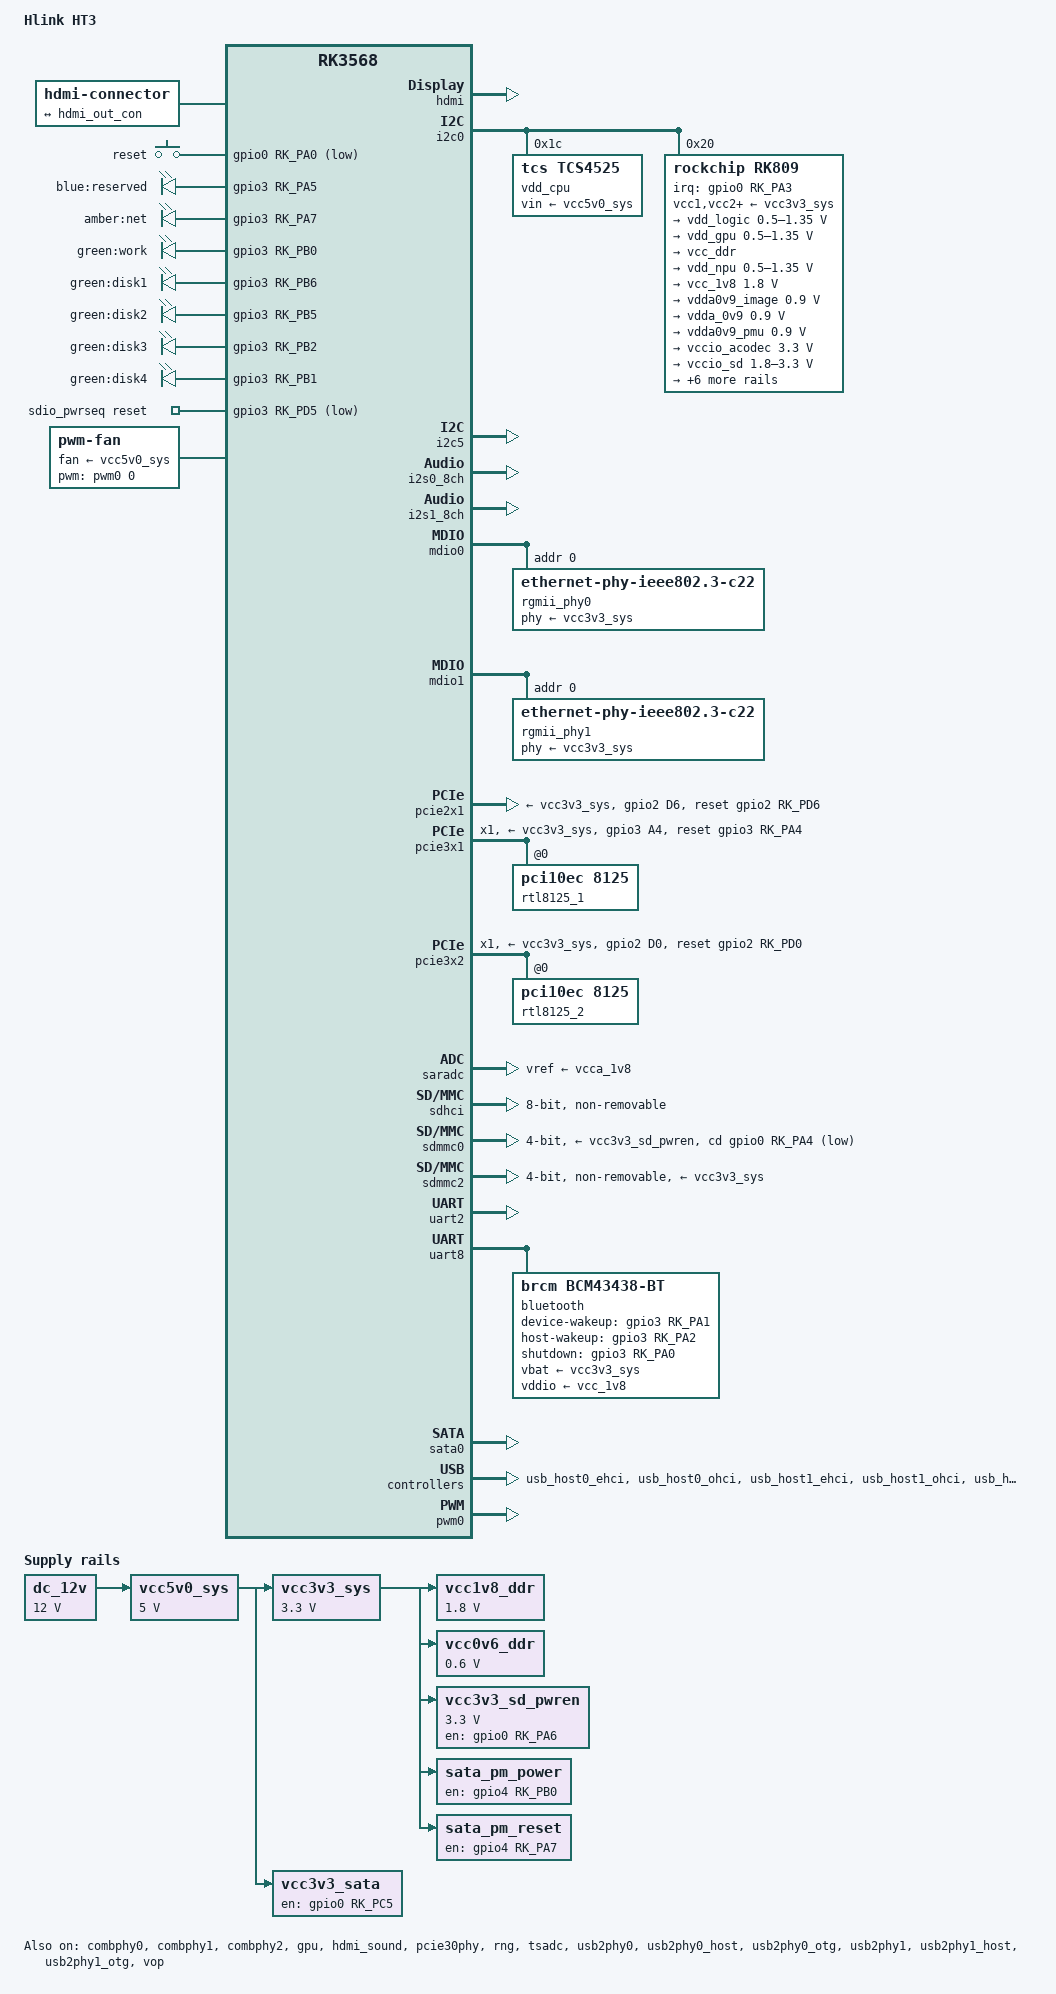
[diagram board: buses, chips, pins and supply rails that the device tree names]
// SPDX-License-Identifier: (GPL-2.0+ OR MIT)
// Copyright (c) 2024 flippy <flippy@sina.com>

/dts-v1/;

#include <dt-bindings/gpio/gpio.h>
#include <dt-bindings/leds/common.h>
#include <dt-bindings/input/input.h>
#include <dt-bindings/pinctrl/rockchip.h>
#include <dt-bindings/soc/rockchip,vop2.h>
#include "rk3568.dtsi"

/ {
	model = "Hlink HT3";
	compatible = "hlink,ht3", "rockchip,rk3568";

	aliases {
		mmc0 = &sdmmc0;
		mmc1 = &sdhci;
	};

	chosen: chosen {
		stdout-path = "serial2:1500000n8";
	};

	hdmi-con {
		compatible = "hdmi-connector";
		type = "a";

		port {
			hdmi_con_in: endpoint {
				remote-endpoint = <&hdmi_out_con>;
			};
		};
	};

	keys {
		compatible = "gpio-keys";
		pinctrl-0 = <&reset_button_pin>;
		pinctrl-names = "default";

		reset {
			label = "reset";
			gpios = <&gpio0 RK_PA0 GPIO_ACTIVE_LOW>;
			linux,code = <KEY_RESTART>;
			debounce-interval = <50>;
		};
	};

	gpio_leds: gpio-leds {
		compatible = "gpio-leds";
		pinctrl-names = "default";
		pinctrl-0 = <&led_reserved_en>,
			    <&led_net_en>,
			    <&led_work_en>,
			    <&led_disk1_en>,
			    <&led_disk2_en>,
			    <&led_disk3_en>,
			    <&led_disk4_en>;

		led_reserved: led-reserved {
			label = "blue:reserved";
			gpios = <&gpio3 RK_PA5 GPIO_ACTIVE_HIGH>;
			linux,default-trigger = "timer";
		};

		led_net: led-net {
			label = "amber:net";
			gpios = <&gpio3 RK_PA7 GPIO_ACTIVE_HIGH>;
		};

		led_work: led-work {
			label = "green:work";
			gpios = <&gpio3 RK_PB0 GPIO_ACTIVE_HIGH>;
			linux,default-trigger = "heartbeat";
		};

		led_disk1: led-hdd1 {
			label = "green:disk1";
			gpios = <&gpio3 RK_PB6 GPIO_ACTIVE_HIGH>;
			linux,default-trigger = "disk-activity";
		};

		led_disk2: led-hdd2 {
			label = "green:disk2";
			gpios = <&gpio3 RK_PB5 GPIO_ACTIVE_HIGH>;
			linux,default-trigger = "mmc0";
		};

		led_disk3: led-hdd3 {
			label = "green:disk3";
			gpios = <&gpio3 RK_PB2 GPIO_ACTIVE_HIGH>;
			linux,default-trigger = "mmc2";
		};

		led_disk4: led-hdd4 {
			label = "green:disk4";
			gpios = <&gpio3 RK_PB1 GPIO_ACTIVE_HIGH>;
			linux,default-trigger = "ata1";
		};
	};

	dc_12v: dc-12v-regulator {
		compatible = "regulator-fixed";
		regulator-name = "dc_12v";
		regulator-always-on;
		regulator-boot-on;
		regulator-min-microvolt = <12000000>;
		regulator-max-microvolt = <12000000>;
	};

	vcc5v0_sys: vcc5v0-sys-regulator {
		compatible = "regulator-fixed";
		regulator-name = "vcc5v0_sys";
		regulator-always-on;
		regulator-boot-on;
		regulator-min-microvolt = <5000000>;
		regulator-max-microvolt = <5000000>;
		vin-supply = <&dc_12v>;
	};

	vcc3v3_sys: vcc3v3-sys-regulator {
		compatible = "regulator-fixed";
		regulator-name = "vcc3v3_sys";
		regulator-always-on;
		regulator-boot-on;
		regulator-min-microvolt = <3300000>;
		regulator-max-microvolt = <3300000>;
		vin-supply = <&vcc5v0_sys>;
	};

	vcc1v8_ddr: vcc1v8-ddr-regulator {
		compatible = "regulator-fixed";
		regulator-name = "vcc1v8_ddr";
		regulator-always-on;
		regulator-boot-on;
		regulator-min-microvolt = <1800000>;
		regulator-max-microvolt = <1800000>;
		vin-supply = <&vcc3v3_sys>;
	};

	vcc0v6_ddr: vcc0v6-ddr-regulator {
		compatible = "regulator-fixed";
		regulator-name = "vcc0v6_ddr";
		regulator-always-on;
		regulator-boot-on;
		regulator-min-microvolt = <600000>;
		regulator-max-microvolt = <600000>;
		vin-supply = <&vcc3v3_sys>;
	};

	vcc3v3_sd_pwren: vcc3v3-sd-pwren-regulator {
		compatible = "regulator-fixed";

		regulator-name = "vcc3v3_sd_pwren";
		regulator-min-microvolt = <3300000>;
		regulator-max-microvolt = <3300000>;
		regulator-boot-on;
		regulator-always-on;

		enable-active-high;
		gpio = <&gpio0 RK_PA6 GPIO_ACTIVE_HIGH>;	/*      SD_PWREN	*/
		vin-supply = <&vcc3v3_sys>;

		pinctrl-names = "default";
		pinctrl-0 = <&vcc3v3_sd_en>;
	};

	sata_pm_power: sata-pm-power {
		compatible = "regulator-fixed";
		regulator-name = "sata_pm_power";
		regulator-enable-ramp-delay = <1000000>;
		regulator-always-on;
		regulator-boot-on;

		enable-active-high;
		gpio = <&gpio4 RK_PB0 GPIO_ACTIVE_HIGH>;

		pinctrl-names = "default";
		pinctrl-0 = <&sata_pm_power_en>;
		vin-supply = <&vcc3v3_sys>;
	};

	sata_pm_reset: sata-pm-reset {
		compatible = "regulator-fixed";
		regulator-name = "sata_pm_reset";
		regulator-enable-ramp-delay = <1000000>;
		regulator-always-on;
		regulator-boot-on;

		enable-active-high;
		gpio = <&gpio4 RK_PA7 GPIO_ACTIVE_HIGH>;

		pinctrl-names = "default";
		pinctrl-0 = <&sata_pm_reset_en>;
		vin-supply = <&vcc3v3_sys>;
	};

	vcc3v3_sata: vcc3v3-sata {
		compatible = "regulator-fixed";
		regulator-name = "vcc3v3_sata";
		regulator-enable-ramp-delay = <1000000>;
		regulator-always-on;
		regulator-boot-on;

		enable-active-high;
		gpio = <&gpio0 RK_PC5 GPIO_ACTIVE_HIGH>;

		pinctrl-names = "default";
		pinctrl-0 = <&vcc3v3_sata_pwren>;
		vin-supply = <&vcc5v0_sys>;
	};

	rk809-sound {
		compatible = "simple-audio-card";
		simple-audio-card,format = "i2s";
		simple-audio-card,name = "Analog RK809";
		simple-audio-card,mclk-fs = <256>;

		simple-audio-card,cpu {
			sound-dai = <&i2s1_8ch>;
		};
		simple-audio-card,codec {
			sound-dai = <&rk809>;
		};
	};

	sdio_pwrseq: sdio-pwrseq {
		compatible = "mmc-pwrseq-simple";
		clocks = <&rk809 1>;
		clock-names = "ext_clock";
		pinctrl-names = "default";
		pinctrl-0 = <&wifi_enable>;
		post-power-on-delay-ms = <100>;
		power-off-delay-us = <5000000>;
		reset-gpios = <&gpio3 RK_PD5 GPIO_ACTIVE_LOW>;
	};

 	fan: pwm-fan {
 		compatible = "pwm-fan";
		cooling-levels = <0 127 163 255>;
 		#cooling-cells = <2>;
 		fan-supply = <&vcc5v0_sys>;
 		pwms = <&pwm0 0 50000 0>;
	};
};

/* for sata0 & usb_host0_xhci */
&combphy0 {
	status = "okay";
};

/* for sata1 & usb_host1_xhci */
&combphy1 {
	status = "okay";
};

/* for sata2 & pcie2x1 */
&combphy2 {
	status = "okay";
};

&cpu0 {
	cpu-supply = <&vdd_cpu>;
};

&cpu1 {
	cpu-supply = <&vdd_cpu>;
};

&cpu2 {
	cpu-supply = <&vdd_cpu>;
};

&cpu3 {
	cpu-supply = <&vdd_cpu>;
};

&gpu {
	mali-supply = <&vdd_gpu>;
	status = "okay";
};

&hdmi {
	avdd-0v9-supply = <&vdda0v9_image>;
	avdd-1v8-supply = <&vcca1v8_image>;
	status = "okay";
};

&hdmi_in {
	hdmi_in_vp0: endpoint {
		remote-endpoint = <&vp0_out_hdmi>;
	};
};

&hdmi_out {
	hdmi_out_con: endpoint {
		remote-endpoint = <&hdmi_con_in>;
	};
};

&hdmi_sound {
	status = "okay";
};

&i2c0 {
	status = "okay";

	vdd_cpu: regulator@1c {
		compatible = "tcs,tcs4525";
		reg = <0x1c>;
		fcs,suspend-voltage-selector = <1>;
		regulator-name = "vdd_cpu";
		regulator-always-on;
		regulator-boot-on;
		regulator-min-microvolt = <800000>;
		regulator-max-microvolt = <1150000>;
		regulator-ramp-delay = <2300>;
		vin-supply = <&vcc5v0_sys>;

		regulator-state-mem {
			regulator-off-in-suspend;
		};
	};

	rk809: pmic@20 {
		compatible = "rockchip,rk809";
		reg = <0x20>;

		interrupt-parent = <&gpio0>;
		interrupts = <RK_PA3 IRQ_TYPE_LEVEL_LOW>;

		assigned-clocks = <&cru I2S1_MCLKOUT_TX>;
		assigned-clock-parents = <&cru CLK_I2S1_8CH_TX>;
		#sound-dai-cells = <0>;

		#clock-cells = <1>;
		clock-names = "mclk";
		clocks = <&cru I2S1_MCLKOUT_TX>;

		pinctrl-names = "default";
		pinctrl-0 = <&pmic_int>, <&i2s1m0_mclk>;

		rockchip,system-power-controller;
		wakeup-source;

		vcc1-supply = <&vcc3v3_sys>;
		vcc2-supply = <&vcc3v3_sys>;
		vcc3-supply = <&vcc3v3_sys>;
		vcc4-supply = <&vcc3v3_sys>;
		vcc5-supply = <&vcc3v3_sys>;
		vcc6-supply = <&vcc3v3_sys>;
		vcc7-supply = <&vcc3v3_sys>;
		vcc8-supply = <&vcc3v3_sys>;
		vcc9-supply = <&vcc3v3_sys>;

		pwrkey {
			status = "okay";
		};

		pinctrl_rk8xx: pinctrl_rk8xx {
			gpio-controller;
			#gpio-cells = <2>;

			rk817_slppin_null: rk817_slppin_null {
				pins = "gpio_slp";
				function = "pin_fun0";
			};

			rk817_slppin_slp: rk817_slppin_slp {
				pins = "gpio_slp";
				function = "pin_fun1";
			};

			rk817_slppin_pwrdn: rk817_slppin_pwrdn {
				pins = "gpio_slp";
				function = "pin_fun2";
			};

			rk817_slppin_rst: rk817_slppin_rst {
				pins = "gpio_slp";
				function = "pin_fun3";
			};
		};

		regulators {
			vdd_logic: DCDC_REG1 {
				regulator-name = "vdd_logic";
				regulator-always-on;
				regulator-boot-on;
				regulator-init-microvolt = <900000>;
				regulator-initial-mode = <0x2>;
				regulator-min-microvolt = <500000>;
				regulator-max-microvolt = <1350000>;
				regulator-ramp-delay = <6001>;

				regulator-state-mem {
					regulator-off-in-suspend;
				};
			};

			vdd_gpu: DCDC_REG2 {
				regulator-name = "vdd_gpu";
				regulator-always-on;
				regulator-init-microvolt = <900000>;
				regulator-initial-mode = <0x2>;
				regulator-min-microvolt = <500000>;
				regulator-max-microvolt = <1350000>;
				regulator-ramp-delay = <6001>;

				regulator-state-mem {
					regulator-off-in-suspend;
				};
			};

			vcc_ddr: DCDC_REG3 {
				regulator-name = "vcc_ddr";
				regulator-always-on;
				regulator-boot-on;
				regulator-initial-mode = <0x2>;

				regulator-state-mem {
					regulator-on-in-suspend;
				};
			};

			vdd_npu: DCDC_REG4 {
				regulator-name = "vdd_npu";
				regulator-init-microvolt = <900000>;
				regulator-initial-mode = <0x2>;
				regulator-min-microvolt = <500000>;
				regulator-max-microvolt = <1350000>;
				regulator-ramp-delay = <6001>;

				regulator-state-mem {
					regulator-off-in-suspend;
				};
			};

			vcc_1v8: DCDC_REG5 {
				regulator-name = "vcc_1v8";
				regulator-always-on;
				regulator-boot-on;
				regulator-min-microvolt = <1800000>;
				regulator-max-microvolt = <1800000>;

				regulator-state-mem {
					regulator-off-in-suspend;
				};
			};

			vdda0v9_image: LDO_REG1 {
				regulator-name = "vdda0v9_image";
				regulator-min-microvolt = <900000>;
				regulator-max-microvolt = <900000>;

				regulator-state-mem {
					regulator-off-in-suspend;
				};
			};

			vdda_0v9: LDO_REG2 {
				regulator-name = "vdda_0v9";
				regulator-always-on;
				regulator-boot-on;
				regulator-min-microvolt = <900000>;
				regulator-max-microvolt = <900000>;

				regulator-state-mem {
					regulator-off-in-suspend;
				};
			};

			vdda0v9_pmu: LDO_REG3 {
				regulator-name = "vdda0v9_pmu";
				regulator-always-on;
				regulator-boot-on;
				regulator-min-microvolt = <900000>;
				regulator-max-microvolt = <900000>;

				regulator-state-mem {
					regulator-on-in-suspend;
					regulator-suspend-microvolt = <900000>;
				};
			};

			vccio_acodec: LDO_REG4 {
				regulator-name = "vccio_acodec";
				regulator-always-on;
				regulator-min-microvolt = <3300000>;
				regulator-max-microvolt = <3300000>;

				regulator-state-mem {
					regulator-off-in-suspend;
				};
			};

			vccio_sd: LDO_REG5 {
				regulator-name = "vccio_sd";
				regulator-min-microvolt = <1800000>;
				regulator-max-microvolt = <3300000>;

				regulator-state-mem {
					regulator-off-in-suspend;
				};
			};

			vcc3v3_pmu: LDO_REG6 {
				regulator-name = "vcc3v3_pmu";
				regulator-always-on;
				regulator-boot-on;
				regulator-min-microvolt = <3300000>;
				regulator-max-microvolt = <3300000>;

				regulator-state-mem {
					regulator-on-in-suspend;
					regulator-suspend-microvolt = <3300000>;
				};
			};

			vcca_1v8: LDO_REG7 {
				regulator-name = "vcca_1v8";
				regulator-always-on;
				regulator-boot-on;
				regulator-min-microvolt = <1800000>;
				regulator-max-microvolt = <1800000>;

				regulator-state-mem {
					regulator-off-in-suspend;
				};
			};

			vcca1v8_pmu: LDO_REG8 {
				regulator-name = "vcca1v8_pmu";
				regulator-always-on;
				regulator-boot-on;
				regulator-min-microvolt = <1800000>;
				regulator-max-microvolt = <1800000>;

				regulator-state-mem {
					regulator-on-in-suspend;
					regulator-suspend-microvolt = <1800000>;
				};
			};

			vcca1v8_image: LDO_REG9 {
				regulator-name = "vcca1v8_image";
				regulator-min-microvolt = <1800000>;
				regulator-max-microvolt = <1800000>;

				regulator-state-mem {
					regulator-off-in-suspend;
				};
			};

			vcc_3v3: SWITCH_REG1 {
				regulator-name = "vcc_3v3";
				regulator-always-on;
				regulator-boot-on;

				regulator-state-mem {
					regulator-off-in-suspend;
				};
			};

			vcc3v3_sd: SWITCH_REG2 {
				regulator-name = "vcc3v3_sd";

				regulator-state-mem {
					regulator-off-in-suspend;
				};
			};
		};

		rk809_codec: codec {
			#sound-dai-cells = <0>;
			compatible = "rockchip,rk809-codec", "rockchip,rk817-codec";
			clocks = <&cru I2S1_MCLKOUT_TX>;
			clock-names = "mclk";
			assigned-clocks = <&cru I2S1_MCLKOUT_TX>;
			assigned-clock-parents = <&cru CLK_I2S1_8CH_TX>;
			pinctrl-names = "default";
			pinctrl-0 = <&i2s1m0_mclk>;
			hp-volume = <20>;
			spk-volume = <3>;
			mic-in-differential;
			status = "okay";
		};
	};
};

&i2c5 {
	status = "okay";
};

&i2s0_8ch {
	status = "okay";
};

&i2s1_8ch {
	rockchip,trcm-sync-tx-only;
	status = "okay";
};

&mdio0 {
	rgmii_phy0: ethernet-phy@0 {
		compatible = "ethernet-phy-ieee802.3-c22";
		phy-supply = <&vcc3v3_sys>;
		reg = <0x0>;
	};
};

&mdio1 {
	rgmii_phy1: ethernet-phy@0 {
		compatible = "ethernet-phy-ieee802.3-c22";
		phy-supply = <&vcc3v3_sys>;
		reg = <0x0>;
	};
};

/*
&gic {
	mbi-ranges = <202 56>, <264 56>;
};
*/

/* PCIE M.2-E NGFF B-KEY SOCKET For WIFI */
&pcie2x1 {
	pinctrl-0 = <&pcie20x1_reset_h>;
	pinctrl-names = "default";
	reset-gpios = <&gpio2 RK_PD6 GPIO_ACTIVE_HIGH>;
	vpcie3v3-supply = <&vcc3v3_sys>;
	status = "okay";
};

&pcie30phy {
	data-lanes = <1 2>;
	status = "okay";
};

/* RTL8125B */
&pcie3x1 {
	num-lanes = <1>;
	pinctrl-0 = <&pcie30x1_reset_h>;
	pinctrl-names = "default";
	reset-gpios = <&gpio3 RK_PA4 GPIO_ACTIVE_HIGH>;
	vpcie3v3-supply = <&vcc3v3_sys>;
	status = "okay";

	pcie@0,0 {
		reg = <0x00100000 0 0 0 0>;
		#address-cells = <3>;
		#size-cells = <2>;

		rtl8125_1: pcie-eth@10,0 {
			compatible = "pci10ec,8125";
			reg = <0x000000 0 0 0 0>;
			realtek,led-data = <0x0200>;
		};
	};
};

/* RTL8125B */
&pcie3x2 {
	num-lanes = <1>;
	pinctrl-0 = <&pcie30x2_reset_h>;
	pinctrl-names = "default";
	reset-gpios = <&gpio2 RK_PD0 GPIO_ACTIVE_HIGH>;
	vpcie3v3-supply = <&vcc3v3_sys>;
	status = "okay";

	pcie@0,0 {
		reg = <0x00200000 0 0 0 0>;
		#address-cells = <3>;
		#size-cells = <2>;

		rtl8125_2: pcie-eth@20,0 {
			compatible = "pci10ec,8125";
			reg = <0x000000 0 0 0 0>;
			realtek,led-data = <0x0200>;
		};
	};
};

&pinctrl {
	button {
		reset_button_pin: reset-button-pin {
			rockchip,pins = <0 RK_PA0 RK_FUNC_GPIO &pcfg_pull_up>;
		};
	};

	leds {
		led_reserved_en: led-reserved-en {
			rockchip,pins = <3 RK_PA5 RK_FUNC_GPIO &pcfg_pull_none>;
		};

		led_net_en: led-net-en {
			rockchip,pins = <3 RK_PA7 RK_FUNC_GPIO &pcfg_pull_none>;
		};

		led_work_en: led-work-en {
			rockchip,pins = <3 RK_PB0 RK_FUNC_GPIO &pcfg_pull_none>;
		};

		led_disk1_en: led-disk1-en {
			rockchip,pins = <3 RK_PB6 RK_FUNC_GPIO &pcfg_pull_none>;
		};

		led_disk2_en: led-disk2-en {
			rockchip,pins = <3 RK_PB5 RK_FUNC_GPIO &pcfg_pull_none>;
		};

		led_disk3_en: led-disk3-en {
			rockchip,pins = <3 RK_PB2 RK_FUNC_GPIO &pcfg_pull_none>;
		};

		led_disk4_en: led-disk4-en {
			rockchip,pins = <3 RK_PB1 RK_FUNC_GPIO &pcfg_pull_none>;
		};
	};

	pcie {
		pcie20x1_reset_h: pcie20x1-reset-h {
			rockchip,pins = <2 RK_PD6 RK_FUNC_GPIO &pcfg_pull_none>;
		};

		pcie30x1_reset_h: pcie30x1-reset-h {
			rockchip,pins = <3 RK_PA4 RK_FUNC_GPIO &pcfg_pull_none>;
		};

		pcie30x2_reset_h: pcie30x2-reset-h {
			rockchip,pins = <2 RK_PD0 RK_FUNC_GPIO &pcfg_pull_none>;
		};
	};

	pmic {
		pmic_int: pmic-int {
			rockchip,pins = <0 RK_PA3 RK_FUNC_GPIO &pcfg_pull_up>;
		};
	};

	sata-pm {
		sata_pm_power_en: sata-pm-power-en {
			rockchip,pins = <4 RK_PB0 RK_FUNC_GPIO &pcfg_pull_down>;
		};

		sata_pm_reset_en: sata-pm-reset-en {
			rockchip,pins = <4 RK_PA7 RK_FUNC_GPIO &pcfg_pull_down>;
		};

		vcc3v3_sata_pwren: vcc3v3-sata-pwren {
			rockchip,pins = <0 RK_PC5 RK_FUNC_GPIO &pcfg_pull_down>;
		};
	};

	sd {
		vcc3v3_sd_en: vcc3v3-sd_en {
			rockchip,pins = <0 RK_PA6 RK_FUNC_GPIO &pcfg_pull_none>;
		};
	};

	bt {
		bt_enable: bt-enable {
			rockchip,pins = <3 RK_PA0 RK_FUNC_GPIO &pcfg_pull_none>;
		};

		bt_host_wake: bt-host-wake {
			rockchip,pins = <3 RK_PA2 RK_FUNC_GPIO &pcfg_pull_down>;
		};

		bt_wake: bt-wake {
			rockchip,pins = <3 RK_PA1 RK_FUNC_GPIO &pcfg_pull_none>;
		};
	};

	sdio-pwrseq {
		wifi_enable: wifi-enable {
			rockchip,pins = <3 RK_PD5 RK_FUNC_GPIO &pcfg_pull_none>;
		};
	};
};

&pmu_io_domains {
	pmuio1-supply = <&vcc3v3_pmu>;
	pmuio2-supply = <&vcc3v3_pmu>;
	vccio1-supply = <&vccio_acodec>;
	vccio2-supply = <&vcc_1v8>;
	vccio3-supply = <&vccio_sd>;
	vccio4-supply = <&vcc_1v8>;
	vccio5-supply = <&vcc_3v3>;
	vccio6-supply = <&vcc_1v8>;
	vccio7-supply = <&vcc_3v3>;
	status = "okay";
};

&rng {
	status = "okay";
};

&saradc {
	vref-supply = <&vcca_1v8>;
	status = "okay";
};

&sdhci {
	bus-width = <8>;
	max-frequency = <200000000>;
	non-removable;
	pinctrl-names = "default";
	pinctrl-0 = <&emmc_bus8 &emmc_clk &emmc_cmd &emmc_datastrobe>;
	status = "okay";
};

&sdmmc0 {
	bus-width = <4>;
	cd-gpios = <&gpio0 RK_PA4 GPIO_ACTIVE_LOW>;
	pinctrl-names = "default";
	pinctrl-0 = <&sdmmc0_bus4 &sdmmc0_clk &sdmmc0_cmd &sdmmc0_det>;

	cap-sd-highspeed;
	max-frequency = <50000000>;
	disable-wp;

	vmmc-supply = <&vcc3v3_sd_pwren>;
	vqmmc-supply = <&vccio_sd>;
	status = "okay";
};

&sdmmc2 {
	bus-width = <4>;
	disable-wp;
	cap-sd-highspeed;
	cap-sdio-irq;
	keep-power-in-suspend;
	mmc-pwrseq = <&sdio_pwrseq>;
	non-removable;
	pinctrl-names = "default";
	pinctrl-0 = <&sdmmc2m0_bus4 &sdmmc2m0_cmd &sdmmc2m0_det &sdmmc2m0_clk>;
	sd-uhs-sdr12;
	sd-uhs-sdr25;
	sd-uhs-sdr50;
	sd-uhs-sdr104;
	vmmc-supply = <&vcc3v3_sys>;
	vqmmc-supply = <&vcc_1v8>;
	status = "okay";
};

&tsadc {
	rockchip,hw-tshut-mode = <1>;
	rockchip,hw-tshut-polarity = <0>;
	status = "okay";
};

&uart2 {
	status = "okay";
};

/* bluetooth on m.2 slot */
&uart8 {
	pinctrl-names = "default";
	pinctrl-0 = <&uart8m0_xfer &uart8m0_ctsn &uart8m0_rtsn>;
	uart-has-rtscts;
	status = "okay";

	bluetooth {
		compatible = "brcm,bcm43438-bt";
		clocks = <&rk809 1>;
		clock-names = "lpo";
		device-wakeup-gpios = <&gpio3 RK_PA1 GPIO_ACTIVE_HIGH>;
		host-wakeup-gpios = <&gpio3 RK_PA2 GPIO_ACTIVE_HIGH>;
		shutdown-gpios = <&gpio3 RK_PA0 GPIO_ACTIVE_HIGH>;
		pinctrl-names = "default";
		pinctrl-0 = <&bt_host_wake &bt_wake &bt_enable>;
		vbat-supply = <&vcc3v3_sys>;
		vddio-supply = <&vcc_1v8>;
		/* vddio comes from regulator on module, use IO bank voltage instead */
	};
};

&sata0 {
	status = "okay";
};

&usb_host0_ehci {
	status = "okay";
};

&usb_host0_ohci {
	status = "okay";
};

&usb_host0_xhci {
	status = "disabled";
};

&usb_host1_ehci {
	status = "okay";
};

&usb_host1_ohci {
	status = "okay";
};

&usb_host1_xhci {
	status = "okay";
};

&usb2phy0 {
	status = "okay";
};

&usb2phy0_host {
	phy-supply = <&vcc5v0_sys>;
	status = "okay";
};

&usb2phy0_otg {
	phy-supply = <&vcc5v0_sys>;
	status = "okay";
};

&usb2phy1 {
	status = "okay";
};

&usb2phy1_host {
	phy-supply = <&vcc5v0_sys>;
	status = "okay";
};

&usb2phy1_otg {
	phy-supply = <&vcc5v0_sys>;
	status = "okay";
};

&vop {
	assigned-clocks = <&cru DCLK_VOP0>, <&cru DCLK_VOP1>;
	assigned-clock-parents = <&pmucru PLL_HPLL>, <&cru PLL_VPLL>;
	status = "okay";
};

&vop_mmu {
	status = "okay";
};

&vp0 {
	vp0_out_hdmi: endpoint@ROCKCHIP_VOP2_EP_HDMI0 {
		reg = <ROCKCHIP_VOP2_EP_HDMI0>;
		remote-endpoint = <&hdmi_in_vp0>;
	};
};

&pwm0 {
	status = "okay";
};

&cpu_thermal {
	trips {
		cpu_cool: cpu_cool {
			temperature = <45000>;
			hysteresis = <2000>;
			type = "active";
		};

		cpu_warm: cpu_warm {
			temperature = <55000>;
			hysteresis = <2000>;
			type = "active";
		};

		cpu_hot: cpu_hot {
			temperature = <65000>;
			hysteresis = <2000>;
			type = "active";
		};
	};

	cooling-maps {
		map1 {
			trip = <&cpu_cool>;
			cooling-device = <&fan THERMAL_NO_LIMIT 1>;
		};

		map2 {
			trip = <&cpu_warm>;
			cooling-device = <&fan 2 THERMAL_NO_LIMIT>;
		};

		map3 {
			trip = <&cpu_hot>;
			cooling-device = <&fan 3 THERMAL_NO_LIMIT>;
		};
	};
};
